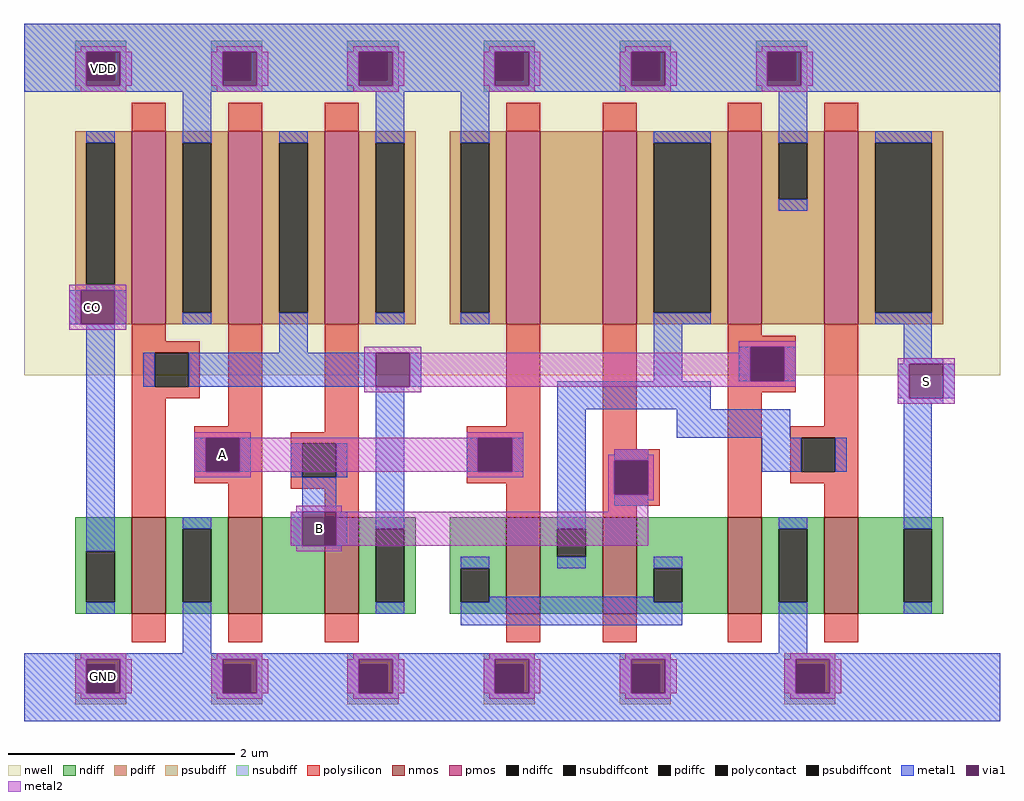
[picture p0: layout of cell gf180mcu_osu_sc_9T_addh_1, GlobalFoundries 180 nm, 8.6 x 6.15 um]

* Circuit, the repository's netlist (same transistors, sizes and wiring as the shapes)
.option scale=0.05u

.subckt gf180mcu_osu_sc_9T_addh_1 A S CO B
X0 a_19_14 A VDD VDD pmos_3p3 w=34 l=6
X1 a_91_19 B a_91_70 VDD pmos_3p3 w=34 l=6
X2 GND a_19_14 a_75_19 GND nmos_3p3 w=17 l=6
X3 VDD a_19_14 a_91_19 VDD pmos_3p3 w=34 l=6
X4 a_19_14 B a_42_19 GND nmos_3p3 w=17 l=6
X5 GND a_19_14 CO GND nmos_3p3 w=17 l=6
X6 VDD B a_19_14 VDD pmos_3p3 w=34 l=6
X7 VDD a_19_14 CO VDD pmos_3p3 w=34 l=6
X8 S a_91_19 GND GND nmos_3p3 w=17 l=6
X9 a_91_19 A a_75_19 GND nmos_3p3 w=17 l=6
X10 S a_91_19 VDD VDD pmos_3p3 w=34 l=6
X11 a_42_19 A GND GND nmos_3p3 w=17 l=6
X12 a_91_70 A VDD VDD pmos_3p3 w=34 l=6
X13 a_75_19 B a_91_19 GND nmos_3p3 w=17 l=6
.ends

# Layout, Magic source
magic
tech gf180mcuC
<< nwell >>
rect 0 61 172 123
<< nmos >>
rect 19 19 25 36
rect 36 19 42 36
rect 53 19 59 36
rect 85 19 91 36
rect 102 19 108 36
rect 124 19 130 36
rect 141 19 147 36
<< pmos >>
rect 19 70 25 104
rect 36 70 42 104
rect 53 70 59 104
rect 85 70 91 104
rect 102 70 108 104
rect 124 70 130 104
rect 141 70 147 104
<< ndiff >>
rect 9 30 19 36
rect 9 21 11 30
rect 16 21 19 30
rect 9 19 19 21
rect 25 34 36 36
rect 25 21 28 34
rect 33 21 36 34
rect 25 19 36 21
rect 42 19 53 36
rect 59 34 69 36
rect 59 21 62 34
rect 67 21 69 34
rect 59 19 69 21
rect 75 27 85 36
rect 75 21 77 27
rect 82 21 85 27
rect 75 19 85 21
rect 91 34 102 36
rect 91 29 94 34
rect 99 29 102 34
rect 91 19 102 29
rect 108 27 124 36
rect 108 21 111 27
rect 116 21 124 27
rect 108 19 124 21
rect 130 34 141 36
rect 130 21 133 34
rect 138 21 141 34
rect 130 19 141 21
rect 147 34 162 36
rect 147 21 155 34
rect 160 21 162 34
rect 147 19 162 21
<< pdiff >>
rect 9 102 19 104
rect 9 77 11 102
rect 16 77 19 102
rect 9 70 19 77
rect 25 102 36 104
rect 25 72 28 102
rect 33 72 36 102
rect 25 70 36 72
rect 42 102 53 104
rect 42 72 45 102
rect 50 72 53 102
rect 42 70 53 72
rect 59 102 69 104
rect 59 72 62 102
rect 67 72 69 102
rect 59 70 69 72
rect 75 102 85 104
rect 75 72 77 102
rect 82 72 85 102
rect 75 70 85 72
rect 91 70 102 104
rect 108 102 124 104
rect 108 72 111 102
rect 121 72 124 102
rect 108 70 124 72
rect 130 102 141 104
rect 130 92 133 102
rect 138 92 141 102
rect 130 70 141 92
rect 147 102 162 104
rect 147 72 150 102
rect 160 72 162 102
rect 147 70 162 72
<< ndiffc >>
rect 11 21 16 30
rect 28 21 33 34
rect 62 21 67 34
rect 77 21 82 27
rect 94 29 99 34
rect 111 21 116 27
rect 133 21 138 34
rect 155 21 160 34
<< pdiffc >>
rect 11 77 16 102
rect 28 72 33 102
rect 45 72 50 102
rect 62 72 67 102
rect 77 72 82 102
rect 111 72 121 102
rect 133 92 138 102
rect 150 72 160 102
<< psubdiff >>
rect 9 10 18 12
rect 9 5 11 10
rect 16 5 18 10
rect 9 3 18 5
rect 33 10 42 12
rect 33 5 35 10
rect 40 5 42 10
rect 33 3 42 5
rect 57 10 66 12
rect 57 5 59 10
rect 64 5 66 10
rect 57 3 66 5
rect 81 10 90 12
rect 81 5 83 10
rect 88 5 90 10
rect 81 3 90 5
rect 105 10 114 12
rect 105 5 107 10
rect 112 5 114 10
rect 105 3 114 5
rect 134 10 143 12
rect 134 5 136 10
rect 141 5 143 10
rect 134 3 143 5
<< nsubdiff >>
rect 9 118 18 120
rect 9 113 11 118
rect 16 113 18 118
rect 9 111 18 113
rect 33 118 42 120
rect 33 113 35 118
rect 40 113 42 118
rect 33 111 42 113
rect 57 118 66 120
rect 57 113 59 118
rect 64 113 66 118
rect 57 111 66 113
rect 81 118 90 120
rect 81 113 83 118
rect 88 113 90 118
rect 81 111 90 113
rect 105 118 114 120
rect 105 113 107 118
rect 112 113 114 118
rect 105 111 114 113
rect 129 118 138 120
rect 129 113 131 118
rect 136 113 138 118
rect 129 111 138 113
<< psubdiffcont >>
rect 11 5 16 10
rect 35 5 40 10
rect 59 5 64 10
rect 83 5 88 10
rect 107 5 112 10
rect 136 5 141 10
<< nsubdiffcont >>
rect 11 113 16 118
rect 35 113 40 118
rect 59 113 64 118
rect 83 113 88 118
rect 107 113 112 118
rect 131 113 136 118
<< polysilicon >>
rect 19 104 25 109
rect 36 104 42 109
rect 53 104 59 109
rect 85 104 91 109
rect 102 104 108 109
rect 124 104 130 109
rect 141 104 147 109
rect 19 67 25 70
rect 19 65 31 67
rect 19 59 23 65
rect 29 59 31 65
rect 19 57 31 59
rect 19 36 25 57
rect 36 52 42 70
rect 30 50 42 52
rect 53 51 59 70
rect 85 52 91 70
rect 30 44 32 50
rect 38 44 42 50
rect 30 42 42 44
rect 36 36 42 42
rect 47 49 59 51
rect 47 43 49 49
rect 55 43 59 49
rect 47 41 59 43
rect 78 50 91 52
rect 78 44 80 50
rect 86 44 91 50
rect 78 42 91 44
rect 53 36 59 41
rect 85 36 91 42
rect 102 48 108 70
rect 124 68 130 70
rect 124 66 136 68
rect 124 60 128 66
rect 134 60 136 66
rect 124 58 136 60
rect 102 46 112 48
rect 102 40 104 46
rect 110 40 112 46
rect 102 38 112 40
rect 102 36 108 38
rect 124 36 130 58
rect 141 52 147 70
rect 135 50 147 52
rect 135 44 137 50
rect 143 44 147 50
rect 135 42 147 44
rect 141 36 147 42
rect 19 14 25 19
rect 36 14 42 19
rect 53 14 59 19
rect 85 14 91 19
rect 102 14 108 19
rect 124 14 130 19
rect 141 14 147 19
<< polycontact >>
rect 23 59 29 65
rect 32 44 38 50
rect 49 43 55 49
rect 80 44 86 50
rect 128 60 134 66
rect 104 40 110 46
rect 137 44 143 50
<< metal1 >>
rect 0 118 172 123
rect 0 112 11 118
rect 17 112 35 118
rect 41 112 59 118
rect 65 112 83 118
rect 89 112 107 118
rect 113 112 131 118
rect 137 112 172 118
rect 0 111 172 112
rect 11 102 16 104
rect 11 76 16 77
rect 28 102 33 111
rect 8 70 10 76
rect 16 70 18 76
rect 28 70 33 72
rect 45 102 50 104
rect 11 30 16 70
rect 45 65 50 72
rect 62 102 67 111
rect 62 70 67 72
rect 77 102 82 111
rect 77 70 82 72
rect 111 102 121 104
rect 133 102 138 111
rect 133 90 138 92
rect 150 102 160 104
rect 111 70 121 72
rect 150 70 160 72
rect 21 59 23 65
rect 29 59 62 65
rect 68 59 70 65
rect 111 60 116 70
rect 126 60 128 66
rect 134 60 136 66
rect 155 64 160 70
rect 155 63 162 64
rect 30 44 32 50
rect 38 44 40 50
rect 47 43 49 49
rect 55 43 57 49
rect 49 37 55 43
rect 11 19 16 21
rect 28 34 33 36
rect 47 31 49 37
rect 55 31 57 37
rect 62 34 67 59
rect 94 55 121 60
rect 154 57 156 63
rect 162 57 164 63
rect 155 56 162 57
rect 78 44 80 50
rect 86 44 88 50
rect 28 12 33 21
rect 94 34 99 55
rect 115 50 135 55
rect 104 46 110 48
rect 130 44 137 50
rect 143 44 145 50
rect 104 38 110 40
rect 133 34 138 36
rect 62 19 67 21
rect 77 27 82 29
rect 94 27 99 29
rect 111 27 116 29
rect 82 21 111 22
rect 77 17 116 21
rect 133 12 138 21
rect 155 34 160 56
rect 155 19 160 21
rect 0 11 172 12
rect 0 5 11 11
rect 17 5 35 11
rect 41 5 59 11
rect 65 5 83 11
rect 89 5 107 11
rect 113 5 136 11
rect 142 5 172 11
rect 0 0 172 5
<< via1 >>
rect 11 113 16 118
rect 16 113 17 118
rect 11 112 17 113
rect 35 113 40 118
rect 40 113 41 118
rect 35 112 41 113
rect 59 113 64 118
rect 64 113 65 118
rect 59 112 65 113
rect 83 113 88 118
rect 88 113 89 118
rect 83 112 89 113
rect 107 113 112 118
rect 112 113 113 118
rect 107 112 113 113
rect 131 113 136 118
rect 136 113 137 118
rect 131 112 137 113
rect 10 70 16 76
rect 62 59 68 65
rect 128 60 134 66
rect 32 44 38 50
rect 49 31 55 37
rect 156 57 162 63
rect 80 44 86 50
rect 104 40 110 46
rect 11 10 17 11
rect 11 5 16 10
rect 16 5 17 10
rect 35 10 41 11
rect 35 5 40 10
rect 40 5 41 10
rect 59 10 65 11
rect 59 5 64 10
rect 64 5 65 10
rect 83 10 89 11
rect 83 5 88 10
rect 88 5 89 10
rect 107 10 113 11
rect 107 5 112 10
rect 112 5 113 10
rect 136 10 142 11
rect 136 5 141 10
rect 141 5 142 10
<< metal2 >>
rect 10 118 18 119
rect 34 118 42 119
rect 58 118 66 119
rect 82 118 90 119
rect 106 118 114 119
rect 130 118 138 119
rect 9 112 11 118
rect 17 112 19 118
rect 33 112 35 118
rect 41 112 43 118
rect 57 112 59 118
rect 65 112 67 118
rect 81 112 83 118
rect 89 112 91 118
rect 105 112 107 118
rect 113 112 115 118
rect 129 112 131 118
rect 137 112 139 118
rect 10 111 18 112
rect 34 111 42 112
rect 58 111 66 112
rect 82 111 90 112
rect 106 111 114 112
rect 130 111 138 112
rect 8 76 18 77
rect 8 70 10 76
rect 16 70 18 76
rect 8 69 18 70
rect 126 66 136 67
rect 60 65 70 66
rect 126 65 128 66
rect 60 59 62 65
rect 68 60 128 65
rect 134 60 136 66
rect 68 59 136 60
rect 154 63 164 64
rect 60 58 70 59
rect 154 57 156 63
rect 162 57 164 63
rect 154 56 164 57
rect 30 50 40 51
rect 78 50 88 51
rect 30 44 32 50
rect 38 44 80 50
rect 86 44 88 50
rect 104 47 110 48
rect 30 43 40 44
rect 78 43 88 44
rect 103 46 111 47
rect 103 40 104 46
rect 110 40 111 46
rect 103 39 111 40
rect 48 37 56 38
rect 103 37 110 39
rect 47 31 49 37
rect 55 31 110 37
rect 48 30 56 31
rect 10 11 18 12
rect 34 11 42 12
rect 58 11 66 12
rect 82 11 90 12
rect 106 11 114 12
rect 135 11 143 12
rect 9 5 11 11
rect 17 5 19 11
rect 33 5 35 11
rect 41 5 43 11
rect 57 5 59 11
rect 65 5 67 11
rect 81 5 83 11
rect 89 5 91 11
rect 105 5 107 11
rect 113 5 115 11
rect 134 5 136 11
rect 142 5 144 11
rect 10 4 18 5
rect 34 4 42 5
rect 58 4 66 5
rect 82 4 90 5
rect 106 4 114 5
rect 135 4 143 5
<< labels >>
rlabel metal2 14 115 14 115 1 VDD
rlabel metal2 35 47 35 47 1 A
port 1 n
rlabel metal2 14 8 14 8 1 GND
rlabel metal2 159 60 159 60 1 S
port 3 n
rlabel metal2 52 34 52 34 1 B
port 5 n
rlabel metal2 12 73 12 73 1 CO
port 4 n
<< end >>
